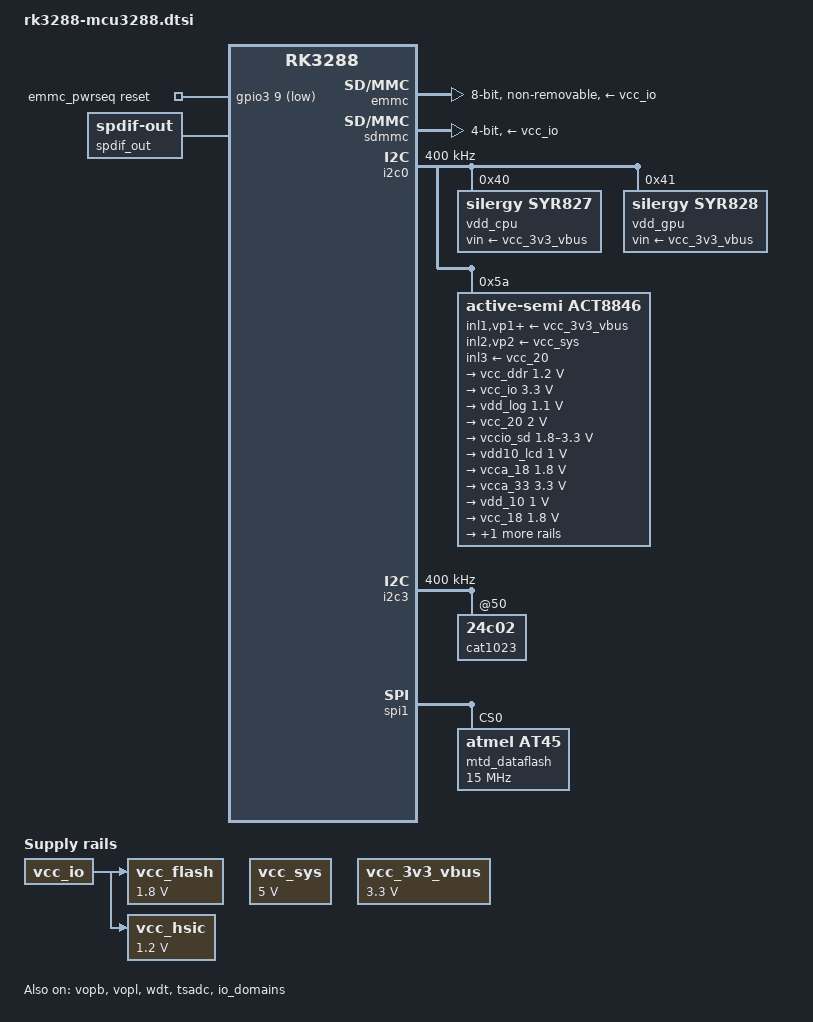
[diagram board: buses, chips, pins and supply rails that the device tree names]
/*
 *  (C) Copyright 2017 Embedtronics Oy
 *
 * SPDX-License-Identifier:	GPL-2.0+ X11
 */

#include "rk3288.dtsi"

/ {
	compatible = "embedtronics,mcu3288", "rockchip,rk3288";

	/*memory {
		reg = <0x0 0x40000000>;
		device_type = "memory";
	};*/

	emmc_pwrseq: emmc-pwrseq {
		compatible = "mmc-pwrseq-emmc";
		pinctrl-0 = <&emmc_reset>;
		pinctrl-names = "default";
		reset-gpios = <&gpio3 9 GPIO_ACTIVE_LOW>;
	};

	spdif_out: spdif-out {
		compatible = "linux,spdif-out";
		#sound-dai-cells = <0>;
	};

	vcc_sys: vsys-regulator {
		compatible = "regulator-fixed";
		regulator-name = "vcc_sys";
		regulator-min-microvolt = <5000000>;
		regulator-max-microvolt = <5000000>;
		regulator-always-on;
		regulator-boot-on;
	};

	vcc_3v3_vbus: v3v3-vbus-regulator {
		compatible = "regulator-fixed";
		regulator-name = "vcc_3v3_vbus";
		regulator-min-microvolt = <3300000>;
		regulator-max-microvolt = <3300000>;
		regulator-always-on;
		regulator-boot-on;
	};

	vcc_flash: emmc-regulator {
		compatible = "regulator-fixed";
		regulator-name = "vcc_flash";
		regulator-min-microvolt = <1800000>;
		regulator-max-microvolt = <1800000>;
		vin-supply = <&vcc_io>;
		regulator-always-on;
		regulator-boot-on;
		startup-delay-us = <100000>;
	};

	vcc_hsic: hsic-regulator {
		compatible = "regulator-fixed";
		regulator-name = "vcc_hsic";
		regulator-min-microvolt = <1200000>;
		regulator-max-microvolt = <1200000>;
		vin-supply = <&vcc_io>;
		regulator-always-on;
		regulator-boot-on;
		startup-delay-us = <100000>;
	};

};

&cpu0 {
	cpu0-supply = <&vdd_cpu>;
};

&emmc {
	bus-width = <8>;
	cap-mmc-highspeed;
	disable-wp;
	non-removable;
	num-slots = <1>;
	mmc-pwrseq = <&emmc_pwrseq>;
	pinctrl-names = "default";
	pinctrl-0 = <&emmc_clk>, <&emmc_cmd>, <&emmc_pwr>, <&emmc_bus8>;
	vmmc-supply = <&vcc_io>;
	vqmcc-supply = <&vcc_flash>;
	status = "okay";
};

&sdmmc {
	bus-width = <4>;
	cap-mmc-highspeed;
	/*sd-uhs-sdr12;
	sd-uhs-sdr25;
	sd-uhs-sdr50;
	sd-uhs-sdr104;*/
	cap-sd-highspeed;
	card-detect-delay = <200>;
	disable-wp;
	num-slots = <1>;
	pinctrl-names = "default";
	pinctrl-0 = <&sdmmc_clk>, <&sdmmc_cmd>, <&sdmmc_cd>, <&sdmmc_bus4>;
	supports-sd;
	vmmc-supply = <&vcc_io>;
	vqmmc-supply = <&vccio_sd>;
	status = "okay";
};

&i2c0 {
	clock-frequency = <400000>;
	status = "okay";

	vdd_cpu: syr827@40 {
		compatible = "silergy,syr827";
		fcs,suspend-voltage-selector = <1>;
		reg = <0x40>;
		regulator-name = "vdd_cpu";
		regulator-min-microvolt = <850000>;
		regulator-max-microvolt = <1350000>;
		regulator-always-on;
		regulator-boot-on;
		regulator-enable-ramp-delay = <300>;
		regulator-ramp-delay = <8000>;
		vin-supply = <&vcc_3v3_vbus>;
	};

	vdd_gpu: syr828@41 {
		compatible = "silergy,syr828";
		fcs,suspend-voltage-selector = <1>;
		reg = <0x41>;
		regulator-name = "vdd_gpu";
		regulator-min-microvolt = <850000>;
		regulator-max-microvolt = <1350000>;
		regulator-always-on;
		vin-supply = <&vcc_3v3_vbus>;
		regulator-enable-ramp-delay = <300>;
		regulator-ramp-delay = <8000>;
	};

	act8846: act8846@5a {
		compatible = "active-semi,act8846";
		reg = <0x5a>;
		system-power-controller;

		inl1-supply = <&vcc_3v3_vbus>;
		inl2-supply = <&vcc_sys>;
		inl3-supply = <&vcc_20>;
		vp1-supply = <&vcc_3v3_vbus>;
		vp2-supply = <&vcc_sys>;
		vp3-supply = <&vcc_3v3_vbus>;
		vp4-supply = <&vcc_3v3_vbus>;

		interrupts-parent = <&gpio0>;
		interrupts = <4 IRQ_TYPE_EDGE_FALLING>;

		pinctrl-names = "default";
		pinctrl-0 = <&pmic_int>;

		regulators {
			vcc_ddr: REG1 {
				regulator-name = "VCC_DDR";
				regulator-min-microvolt = <1200000>;
				regulator-max-microvolt = <1200000>;
				/*regulator-max-microvolt = <1500000>;*/
				regulator-always-on;
			};

			vcc_io: REG2 {
				regulator-name = "VCC_IO";
				regulator-min-microvolt = <3300000>;
				regulator-max-microvolt = <3300000>;
				regulator-always-on;
			};

			vdd_log: REG3 {
				regulator-name = "VDD_LOG";
				regulator-min-microvolt = <1100000>;
				regulator-max-microvolt = <1100000>;
				regulator-always-on;
			};

			vcc_20: REG4 {
				regulator-name = "VCC_20";
				regulator-min-microvolt = <2000000>;
				regulator-max-microvolt = <2000000>;
				regulator-always-on;
			};

			vccio_sd: REG5 {
				regulator-name = "VCCIO_SD";
				regulator-min-microvolt = <1800000>;
				regulator-max-microvolt = <3300000>;
				regulator-always-on;
				/*regulator-boot-on;*/
			};

			vdd10_lcd: REG6 {
				regulator-name = "VDD10_LCD";
				regulator-min-microvolt = <1000000>;
				regulator-max-microvolt = <1000000>;
				regulator-always-on;
				/*regulator-boot-off;*/
			};

			vcca_18: REG7 {
				regulator-name = "VCCA_18";
				regulator-min-microvolt = <1800000>;
				regulator-max-microvolt = <1800000>;
				regulator-always-on;
				/*regulator-boot-on;*/
			};

			vcca_33: REG8 {
				regulator-name = "VCCA_33";
				regulator-min-microvolt = <3300000>;
				regulator-max-microvolt = <3300000>;
				regulator-always-on;
				/*regulator-boot-off;*/
			};

			/*vccio_pmu: REG9 {
				regulator-name = "VCCIO_PMU";
				regulator-min-microvolt = <3300000>;
				regulator-max-microvolt = <3300000>;
				regulator-always-on;
				regulator-boot-on;
			};*/

			vdd_10: REG10 {
				regulator-name = "VDD_10";
				regulator-min-microvolt = <1000000>;
				regulator-max-microvolt = <1000000>;
				regulator-always-on;
				regulator-boot-on;
			};

			vcc_18: REG11 {
				regulator-name = "VCC_18";
				regulator-min-microvolt = <1800000>;
				regulator-max-microvolt = <1800000>;
				regulator-always-on;
				regulator-boot-on;
			};

			vcc18_lcd: REG12 {
				regulator-name = "VCC18_LCD";
				regulator-min-microvolt = <1800000>;
				regulator-max-microvolt = <1800000>;
				regulator-always-on;
				/*regulator-boot-off;*/
			};
		};
	};
};

&i2c3 {
	clock-frequency = <400000>;
	status = "okay";

	cat1023: 24c02@50 {
		status = "okay";
	};
};

&pinctrl {
	pcfg_output_high: pcfg-output-high {
		output-high;
	};
	
	pcfg_output_low: pcfg-output-low {
		output-low;
	};

	emmc {
		emmc_reset: emmc-reset {
			rockchip,pins = <3 9 RK_FUNC_GPIO &pcfg_pull_none>;
		};
	};
	
	pmic {
		pmic_int: pmic-int {
			rockchip,pins = <0 4 RK_FUNC_GPIO &pcfg_pull_up>;
		};
	};

	reset {
		sw_reset: sw-reset {
			rockchip,pins = <5 18 RK_FUNC_GPIO &pcfg_output_high>;
		};

		sw_reset_2: sw-reset-2 {
			rockchip,pins = <5 19 RK_FUNC_GPIO &pcfg_output_high>;
		};
	};
};

&spi1 {
	u-boot,dm-pre-reloc;
	pinctrl-names ="default";
	pinctrl-0 = <&spi1_clk>, <&spi1_tx>, <&spi1_rx>, <&spi1_cs0>;
	status = "okay";

	mtd_dataflash@0 {
		compatible = "atmel,at45", "atmel,dataflash";
		spi-max-frequency = <15000000>;
		reg = <0>;
	};
};

&vopb {
	status = "okay";
};

&vopb_mmu {
	status = "okay";
};

&vopl {
	status = "okay";
};

&vopl_mmu {
	status = "okay";
};

&wdt {
	status = "okay";
};

&tsadc {
	rockchip,hw-tshut-mode = <0>;	/* tshut mode 0:CRU 1:GPIO */
	rockchip,hw-tshut-polarity = <0>; /* tshut polarity 0:LOW 1:HIGH */
	status = "okay";
};

&saradc {
	vref-supply = <&vcc_18>;
	status = "disabled";
};

&io_domains {
    audio-supply = <&vcc_io>;
    bb-supply = <&vcc_io>;
    dvp-supply = <&vcc_io>;
    flash0-supply = <&vcc_flash>;
    flash1-supply = <&vcc_flash>;
    gpio30-supply = <&vcc_io>;
    gpio1830-supply = <&vcc_io>;
    lcdc-supply = <&vcc_io>;
    sdcard-supply = <&vcc_io>;
    wifi-supply = <&vcc_io>;

	status = "okay";
};

&dmc {
	rockchip,pctl-timing = <0x29a 0xc8 0x1f8 0x42 0x4e 0x4 0xea 0xa
		0x5 0x0 0xa 0x7 0x19 0x24 0xa 0x7
		0x5 0xa 0x5 0x200 0x5 0x10 0x40 0x0
		0x1 0x7 0x7 0x4 0xc 0x43 0x100 0x0
		0x5 0x0>;
	rockchip,phy-timing = <0x48f9aab4 0xea0910 0x1002c200
		0xa60 0x40 0x10 0x0>;
	rockchip,sdram-params = <0x30B25564 0x627 3 666000000 3 9 1>;
};

